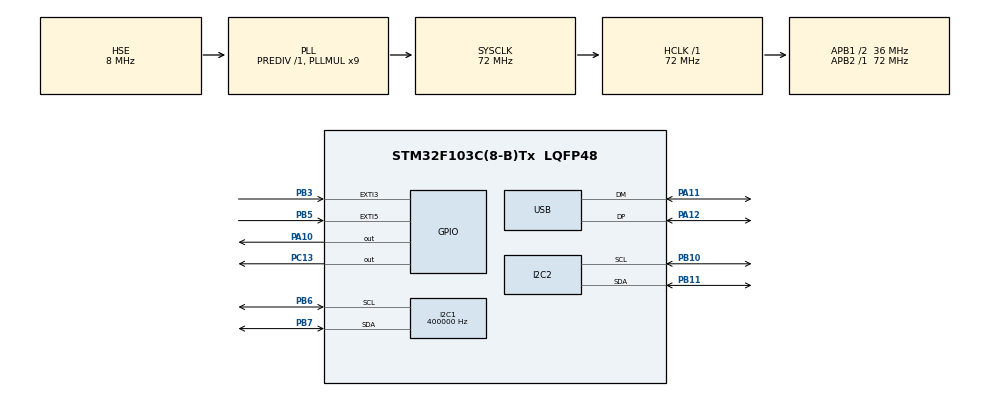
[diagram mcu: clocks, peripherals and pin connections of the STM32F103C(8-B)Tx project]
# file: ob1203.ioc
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I2C1.ClockSpeed=400000
I2C1.I2C_Mode=I2C_Fast
I2C2.I2C_Mode=I2C_Fast
Mcu.Family=STM32F1
Mcu.Name=STM32F103C(8-B)Tx
Mcu.Package=LQFP48
NVIC.EXTI3_IRQn=true\:0\:0\:false\:false\:true\:true\:true\:true
NVIC.EXTI9_5_IRQn=true\:0\:0\:false\:false\:true\:true\:true\:true
NVIC.I2C1_ER_IRQn=true\:0\:0\:false\:false\:true\:true\:true\:true
NVIC.I2C1_EV_IRQn=true\:0\:0\:false\:false\:true\:true\:true\:true
NVIC.I2C2_ER_IRQn=true\:0\:0\:false\:false\:true\:true\:true\:true
NVIC.I2C2_EV_IRQn=true\:0\:0\:false\:false\:true\:true\:true\:true
NVIC.PriorityGroup=NVIC_PRIORITYGROUP_4
NVIC.TIM3_IRQn=true\:0\:0\:false\:false\:true\:true\:true\:true
NVIC.TIM4_IRQn=true\:0\:0\:false\:false\:true\:true\:true\:true
NVIC.USB_LP_CAN1_RX0_IRQn=true\:0\:0\:false\:false\:true\:false\:true\:true
PA10.Signal=GPIO_Output
PA11.Mode=Device
PA11.Signal=USB_DM
PA12.Mode=Device
PA12.Signal=USB_DP
PA13.Mode=Serial_Wire
PA13.Signal=SYS_JTMS-SWDIO
PA14.Mode=Serial_Wire
PA14.Signal=SYS_JTCK-SWCLK
PB10.Mode=I2C
PB10.Signal=I2C2_SCL
PB11.Mode=I2C
PB11.Signal=I2C2_SDA
PB3.GPIO_ModeDefaultEXTI=GPIO_MODE_IT_RISING
PB3.GPIO_PuPd=GPIO_PULLUP
PB3.Signal=GPXTI3
PB5.GPIO_ModeDefaultEXTI=GPIO_MODE_IT_FALLING
PB5.GPIO_PuPd=GPIO_PULLUP
PB5.Signal=GPXTI5
PB6.Mode=I2C
PB6.Signal=I2C1_SCL
PB7.Mode=I2C
PB7.Signal=I2C1_SDA
PC13-TAMPER-RTC.Signal=GPIO_Output
PD0-OSC_IN.Mode=HSE-External-Oscillator
PD0-OSC_IN.Signal=RCC_OSC_IN
PD1-OSC_OUT.Mode=HSE-External-Oscillator
PD1-OSC_OUT.Signal=RCC_OSC_OUT
ProjectManager.HeapSize=0x200
ProjectManager.StackSize=0x400
ProjectManager.TargetToolchain=STM32CubeIDE
RCC.ADCPresc=RCC_ADCPCLK2_DIV6
RCC.AHBFreq_Value=72000000
RCC.APB1CLKDivider=RCC_HCLK_DIV2
RCC.APB1Freq_Value=36000000
RCC.APB1TimFreq_Value=72000000
RCC.APB2Freq_Value=72000000
RCC.APB2TimFreq_Value=72000000
RCC.HCLKFreq_Value=72000000
RCC.PLLMUL=RCC_PLL_MUL9
RCC.SYSCLKFreq_VALUE=72000000
RCC.SYSCLKSource=RCC_SYSCLKSOURCE_PLLCLK
RCC.USBFreq_Value=48000000
RCC.USBPrescaler=RCC_USBCLKSOURCE_PLL_DIV1_5
TIM3.Period=100-1
TIM3.Prescaler=7200-1
TIM4.Period=1000-1
TIM4.Prescaler=7200-1
USB_DEVICE.CLASS_NAME_FS=CDC
USB_DEVICE.VirtualMode=Cdc
USB_DEVICE.VirtualModeFS=Cdc_FS
VP_TIM2_VS_ClockSourceINT.Mode=Internal
VP_TIM3_VS_ClockSourceINT.Mode=Internal
VP_TIM4_VS_ClockSourceINT.Mode=Internal
VP_USB_DEVICE_VS_USB_DEVICE_CDC_FS.Mode=CDC_FS
board=custom

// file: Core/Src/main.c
/* USER CODE BEGIN Header */
/**
  ******************************************************************************
  * @file           : main.c
  * @brief          : Main program body
  ******************************************************************************
  * @attention
  *
  * Copyright (c) 2023 STMicroelectronics.
  * All rights reserved.
  *
  * This software is licensed under terms that can be found in the LICENSE file
  * in the root directory of this software component.
  * If no LICENSE file comes with this software, it is provided AS-IS.
  *
  ******************************************************************************
  */
/* USER CODE END Header */
#include "main.h"
#include "usb_device.h"

/* USER CODE BEGIN Includes */
#include "usbd_cdc_if.h"

/* USER CODE END Includes */

I2C_HandleTypeDef hi2c1;
I2C_HandleTypeDef hi2c2;

TIM_HandleTypeDef htim2;
TIM_HandleTypeDef htim3;
TIM_HandleTypeDef htim4;

/* USER CODE BEGIN PV */
uint8_t SM_Case = ST_IDLE;
BUF_HandleTypeDef FIFO_buf = 0;
I2C_HandleTypeDef cur_i2c;

uint8_t command = 2;
uint8_t rate;
uint8_t adc_rdy = 0;

uint8_t BMX_rdy = 0;
//int16_t accelCount[3];
//int16_t gyroCount[3];
//int16_t magCount[3];
/* USER CODE END PV */

void SystemClock_Config(void);
static void MX_GPIO_Init(void);
static void MX_I2C1_Init(void);
static void MX_TIM2_Init(void);
static void MX_I2C2_Init(void);
static void MX_TIM4_Init(void);
static void MX_TIM3_Init(void);
/* USER CODE BEGIN PFP */
static void OB1203_Setup(void);
static void OB1203_RST(void);
void ChangeTimer4Period(uint16_t NewPeriod);
/* USER CODE END PFP */

/* USER CODE BEGIN 0 */
int Command_Check()
{
	int command_count = COMMAND_FIRST_BYTE;
	int command_status = COMMAND_NOTRECEIVED;
	while (! Buffer_IsEmpty(FIFO_buf) && command_status == COMMAND_NOTRECEIVED)
	{
		uint8_t data = Buffer_Read(FIFO_buf);
		switch (command_count)
		{
		case COMMAND_FIRST_BYTE:
			if (data == 0)
			{
				command_count = COMMAND_SECOND_BYTE;
			}
			else if(data == 255)
			{
				command_count = COMMAND_SWITCH;
			}
			break;
		case COMMAND_SECOND_BYTE:
			if (data == 7)
			{
				command_status = COMMAND_RECEIVED;
				command = COMMAND_START;
			}
			else
			{
				command_count = COMMAND_FIRST_BYTE;
			}
			break;
		case COMMAND_SWITCH:
			if (data == 0)
			{
				command_status = COMMAND_RECEIVED;
				command = COMMAND_STOP;
			}
			else
			{
				command_count = COMMAND_FIRST_BYTE;
			}
			break;
		}
	}
	return command_status;
}

uint16_t rate_case(uint8_t rate)
{
	uint16_t rate_hz = 0;
	switch(rate)
	{
	case HEARTRATE11_PPG_RATE_1MS:
		rate_hz = 1000;
		break;
	case HEARTRATE11_PPG_RATE_1p25MS:
		rate_hz = 800;
		break;
	case HEARTRATE11_PPG_RATE_2p5MS:
		rate_hz = 400;
		break;
	case HEARTRATE11_PPG_RATE_5MS:
		rate_hz = 200;
		break;
	case HEARTRATE11_PPG_RATE_10MS:
		rate_hz = 100;
		break;
	case HEARTRATE11_PPG_RATE_20MS:
		rate_hz = 50;
		break;
	}
	return rate_hz;
}

/* USER CODE END 0 */

int main(void)
{
  /* USER CODE BEGIN 1 */
  FIFO_buf = Buffer_Init(128);
  /* USER CODE END 1 */

  /* MCU Configuration--------------------------------------------------------*/

  /* Reset of all peripherals, Initializes the Flash interface and the Systick. */
  HAL_Init();

  /* Configure the system clock */
  SystemClock_Config();

  /* Initialize all configured peripherals */
  MX_GPIO_Init();
  MX_I2C1_Init();
  MX_TIM2_Init();
  MX_USB_DEVICE_Init();
  MX_I2C2_Init();
  MX_TIM4_Init();
  MX_TIM3_Init();
  /* USER CODE BEGIN 2 */
  adc_rdy = 0;
  uint32_t ppg;
  uint8_t tca_data;
//  uint16_t ps;
  int setup = SETUP_NOTDONE;
  command = COMMAND_NOTR;
  cur_i2c = hi2c2;
//  ChangeTimer4Period(10000-1);
  HAL_TIM_Base_Start_IT(&htim3);

  /* USER CODE END 2 */

  /* Infinite loop */
  /* USER CODE BEGIN WHILE */
  while (1)
  {
	if(Command_Check() == COMMAND_RECEIVED)
	{
		SM_Case = ST_IDLE;
	}
	switch(SM_Case)
	{
		case ST_IDLE:
			if (command == COMMAND_START)
			{
				SM_Case = ST_START;
			}
			if (command == COMMAND_STOP)
			{
				SM_Case = ST_STOP;
			}
			break;
		case ST_START:

			if (setup == SETUP_NOTDONE)
			{

				rate = HEARTRATE11_PPG_RATE_10MS;
				tca9544a_I2C_SetX(I2C_1);
				OB1203_Setup();

				tca9544a_I2C_SetX(I2C_2);
				OB1203_Setup();

				tca9544a_I2C_SetX(I2C_3);
				OB1203_Setup();

				setup = SETUP_DONE;
				ob1203_send_info(rate_case(rate));

				BMX055_init_globals();
				BMX055_setup();
				bmx055_send_info(100);
			}
			if(!HAL_GPIO_ReadPin(GPIOB, GPIO_PIN_3))
			{
				cur_i2c = hi2c2;
				tca9544a_I2C_ReadX(&tca_data);
				tca_data = tca_data >> 4;
				if(tca_data && I2C1_INT)
				{
					tca9544a_I2C_SetX(I2C_1);
					memset(&ppg, 0, sizeof(ppg));
					heartrate11_read_fifo(0, &ppg);
					ob1203_send_results(ppg, I2C1_INT);
				}
				if(tca_data && I2C2_INT)
				{
					tca9544a_I2C_SetX(I2C_2);
					memset(&ppg, 0, sizeof(ppg));
					heartrate11_read_fifo(0, &ppg);
					ob1203_send_results(ppg, I2C2_INT);
				}
				if(tca_data && I2C3_INT)
				{
					tca9544a_I2C_SetX(I2C_3);
					memset(&ppg, 0, sizeof(ppg));
					heartrate11_read_fifo(0, &ppg);
					ob1203_send_results(ppg, I2C3_INT);
				}
				adc_rdy = 0;
			}
			if (BMX_rdy)
			{
				readAccelData(accelCount);
				readGyroData(gyroCount);
				readMagData(magCount);
				BMX_send_result(accelCount, gyroCount, magCount);
				BMX_rdy = 0;
			}
			break;
		case ST_STOP:
			OB1203_RST();
			setup = SETUP_NOTDONE;
			break;

	}
    /* USER CODE END WHILE */

  }
}

void SystemClock_Config(void)
{
  RCC_OscInitTypeDef RCC_OscInitStruct = {0};
  RCC_ClkInitTypeDef RCC_ClkInitStruct = {0};
  RCC_PeriphCLKInitTypeDef PeriphClkInit = {0};

  /** Initializes the RCC Oscillators according to the specified parameters
  * in the RCC_OscInitTypeDef structure.
  */
  RCC_OscInitStruct.OscillatorType = RCC_OSCILLATORTYPE_HSE;
  RCC_OscInitStruct.HSEState = RCC_HSE_ON;
  RCC_OscInitStruct.HSEPredivValue = RCC_HSE_PREDIV_DIV1;
  RCC_OscInitStruct.HSIState = RCC_HSI_ON;
  RCC_OscInitStruct.PLL.PLLState = RCC_PLL_ON;
  RCC_OscInitStruct.PLL.PLLSource = RCC_PLLSOURCE_HSE;
  RCC_OscInitStruct.PLL.PLLMUL = RCC_PLL_MUL9;
  if (HAL_RCC_OscConfig(&RCC_OscInitStruct) != HAL_OK)
  {
    Error_Handler();
  }

  /** Initializes the CPU, AHB and APB buses clocks
  */
  RCC_ClkInitStruct.ClockType = RCC_CLOCKTYPE_HCLK|RCC_CLOCKTYPE_SYSCLK
                              |RCC_CLOCKTYPE_PCLK1|RCC_CLOCKTYPE_PCLK2;
  RCC_ClkInitStruct.SYSCLKSource = RCC_SYSCLKSOURCE_PLLCLK;
  RCC_ClkInitStruct.AHBCLKDivider = RCC_SYSCLK_DIV1;
  RCC_ClkInitStruct.APB1CLKDivider = RCC_HCLK_DIV2;
  RCC_ClkInitStruct.APB2CLKDivider = RCC_HCLK_DIV1;

  if (HAL_RCC_ClockConfig(&RCC_ClkInitStruct, FLASH_LATENCY_2) != HAL_OK)
  {
    Error_Handler();
  }
  PeriphClkInit.PeriphClockSelection = RCC_PERIPHCLK_USB;
  PeriphClkInit.UsbClockSelection = RCC_USBCLKSOURCE_PLL_DIV1_5;
  if (HAL_RCCEx_PeriphCLKConfig(&PeriphClkInit) != HAL_OK)
  {
    Error_Handler();
  }
}

static void MX_I2C1_Init(void)
{

  hi2c1.Instance = I2C1;
  hi2c1.Init.ClockSpeed = 400000;
  hi2c1.Init.DutyCycle = I2C_DUTYCYCLE_2;
  hi2c1.Init.OwnAddress1 = 0;
  hi2c1.Init.AddressingMode = I2C_ADDRESSINGMODE_7BIT;
  hi2c1.Init.DualAddressMode = I2C_DUALADDRESS_DISABLE;
  hi2c1.Init.OwnAddress2 = 0;
  hi2c1.Init.GeneralCallMode = I2C_GENERALCALL_DISABLE;
  hi2c1.Init.NoStretchMode = I2C_NOSTRETCH_DISABLE;
  if (HAL_I2C_Init(&hi2c1) != HAL_OK)
  {
    Error_Handler();
  }

}

static void MX_I2C2_Init(void)
{

  hi2c2.Instance = I2C2;
  hi2c2.Init.ClockSpeed = 400000;
  hi2c2.Init.DutyCycle = I2C_DUTYCYCLE_2;
  hi2c2.Init.OwnAddress1 = 0;
  hi2c2.Init.AddressingMode = I2C_ADDRESSINGMODE_7BIT;
  hi2c2.Init.DualAddressMode = I2C_DUALADDRESS_DISABLE;
  hi2c2.Init.OwnAddress2 = 0;
  hi2c2.Init.GeneralCallMode = I2C_GENERALCALL_DISABLE;
  hi2c2.Init.NoStretchMode = I2C_NOSTRETCH_DISABLE;
  if (HAL_I2C_Init(&hi2c2) != HAL_OK)
  {
    Error_Handler();
  }

}

static void MX_TIM2_Init(void)
{

  TIM_ClockConfigTypeDef sClockSourceConfig = {0};
  TIM_MasterConfigTypeDef sMasterConfig = {0};

  htim2.Instance = TIM2;
  htim2.Init.Prescaler = 0;
  htim2.Init.CounterMode = TIM_COUNTERMODE_UP;
  htim2.Init.Period = 65535;
  htim2.Init.ClockDivision = TIM_CLOCKDIVISION_DIV1;
  htim2.Init.AutoReloadPreload = TIM_AUTORELOAD_PRELOAD_DISABLE;
  if (HAL_TIM_Base_Init(&htim2) != HAL_OK)
  {
    Error_Handler();
  }
  sClockSourceConfig.ClockSource = TIM_CLOCKSOURCE_INTERNAL;
  if (HAL_TIM_ConfigClockSource(&htim2, &sClockSourceConfig) != HAL_OK)
  {
    Error_Handler();
  }
  sMasterConfig.MasterOutputTrigger = TIM_TRGO_RESET;
  sMasterConfig.MasterSlaveMode = TIM_MASTERSLAVEMODE_DISABLE;
  if (HAL_TIMEx_MasterConfigSynchronization(&htim2, &sMasterConfig) != HAL_OK)
  {
    Error_Handler();
  }

}

static void MX_TIM3_Init(void)
{

  TIM_ClockConfigTypeDef sClockSourceConfig = {0};
  TIM_MasterConfigTypeDef sMasterConfig = {0};

  htim3.Instance = TIM3;
  htim3.Init.Prescaler = 7200-1;
  htim3.Init.CounterMode = TIM_COUNTERMODE_UP;
  htim3.Init.Period = 100-1;
  htim3.Init.ClockDivision = TIM_CLOCKDIVISION_DIV1;
  htim3.Init.AutoReloadPreload = TIM_AUTORELOAD_PRELOAD_DISABLE;
  if (HAL_TIM_Base_Init(&htim3) != HAL_OK)
  {
    Error_Handler();
  }
  sClockSourceConfig.ClockSource = TIM_CLOCKSOURCE_INTERNAL;
  if (HAL_TIM_ConfigClockSource(&htim3, &sClockSourceConfig) != HAL_OK)
  {
    Error_Handler();
  }
  sMasterConfig.MasterOutputTrigger = TIM_TRGO_RESET;
  sMasterConfig.MasterSlaveMode = TIM_MASTERSLAVEMODE_DISABLE;
  if (HAL_TIMEx_MasterConfigSynchronization(&htim3, &sMasterConfig) != HAL_OK)
  {
    Error_Handler();
  }

}

static void MX_TIM4_Init(void)
{

  TIM_ClockConfigTypeDef sClockSourceConfig = {0};
  TIM_MasterConfigTypeDef sMasterConfig = {0};

  htim4.Instance = TIM4;
  htim4.Init.Prescaler = 7200-1;
  htim4.Init.CounterMode = TIM_COUNTERMODE_UP;
  htim4.Init.Period = 1000-1;
  htim4.Init.ClockDivision = TIM_CLOCKDIVISION_DIV1;
  htim4.Init.AutoReloadPreload = TIM_AUTORELOAD_PRELOAD_DISABLE;
  if (HAL_TIM_Base_Init(&htim4) != HAL_OK)
  {
    Error_Handler();
  }
  sClockSourceConfig.ClockSource = TIM_CLOCKSOURCE_INTERNAL;
  if (HAL_TIM_ConfigClockSource(&htim4, &sClockSourceConfig) != HAL_OK)
  {
    Error_Handler();
  }
  sMasterConfig.MasterOutputTrigger = TIM_TRGO_RESET;
  sMasterConfig.MasterSlaveMode = TIM_MASTERSLAVEMODE_DISABLE;
  if (HAL_TIMEx_MasterConfigSynchronization(&htim4, &sMasterConfig) != HAL_OK)
  {
    Error_Handler();
  }

}

static void MX_GPIO_Init(void)
{
  GPIO_InitTypeDef GPIO_InitStruct = {0};

  /* GPIO Ports Clock Enable */
  __HAL_RCC_GPIOC_CLK_ENABLE();
  __HAL_RCC_GPIOD_CLK_ENABLE();
  __HAL_RCC_GPIOB_CLK_ENABLE();
  __HAL_RCC_GPIOA_CLK_ENABLE();

  /*Configure GPIO pin Output Level */
  HAL_GPIO_WritePin(GPIOC, GPIO_PIN_13, GPIO_PIN_RESET);

  /*Configure GPIO pin Output Level */
  HAL_GPIO_WritePin(GPIOA, GPIO_PIN_10, GPIO_PIN_RESET);

  /*Configure GPIO pin : PC13 */
  GPIO_InitStruct.Pin = GPIO_PIN_13;
  GPIO_InitStruct.Mode = GPIO_MODE_OUTPUT_PP;
  GPIO_InitStruct.Pull = GPIO_NOPULL;
  GPIO_InitStruct.Speed = GPIO_SPEED_FREQ_LOW;
  HAL_GPIO_Init(GPIOC, &GPIO_InitStruct);

  /*Configure GPIO pin : PA10 */
  GPIO_InitStruct.Pin = GPIO_PIN_10;
  GPIO_InitStruct.Mode = GPIO_MODE_OUTPUT_PP;
  GPIO_InitStruct.Pull = GPIO_NOPULL;
  GPIO_InitStruct.Speed = GPIO_SPEED_FREQ_LOW;
  HAL_GPIO_Init(GPIOA, &GPIO_InitStruct);

  /*Configure GPIO pin : PB3 */
  GPIO_InitStruct.Pin = GPIO_PIN_3;
  GPIO_InitStruct.Mode = GPIO_MODE_IT_RISING;
  GPIO_InitStruct.Pull = GPIO_PULLUP;
  HAL_GPIO_Init(GPIOB, &GPIO_InitStruct);

  /*Configure GPIO pin : PB5 */
  GPIO_InitStruct.Pin = GPIO_PIN_5;
  GPIO_InitStruct.Mode = GPIO_MODE_IT_FALLING;
  GPIO_InitStruct.Pull = GPIO_PULLUP;
  HAL_GPIO_Init(GPIOB, &GPIO_InitStruct);

  /* EXTI interrupt init*/
  HAL_NVIC_SetPriority(EXTI3_IRQn, 0, 0);
  HAL_NVIC_EnableIRQ(EXTI3_IRQn);

  HAL_NVIC_SetPriority(EXTI9_5_IRQn, 0, 0);
  HAL_NVIC_EnableIRQ(EXTI9_5_IRQn);

}

/* USER CODE BEGIN 4 */
void OB1203_RST(void)
{
	heartrate11_t heartrate11;
	heartrate11_reset_device(&heartrate11);
}

void OB1203_Setup(void)
{
	heartrate11_t heartrate11;
	uint8_t data = 0;
	if(HEARTRATE11_OK == heartrate11_read_register(0, HEARTRATE11_REG_PART_ID, &data))
	{
		heartrate11_default_cfg(&heartrate11);
	}
}

void ChangeTimer4Period(uint16_t NewPeriod)
{

	  htim4.Init.Period = NewPeriod;
	  if (HAL_TIM_Base_Init(&htim4) != HAL_OK)
	  {
	    Error_Handler();
	  }
}
//
//void HAL_TIM_PeriodElapsedCallback(TIM_HandleTypeDef *htim)
//{
//	BMX_rdy = 1;
//}

/* USER CODE END 4 */

void Error_Handler(void)
{
  __disable_irq();
  while (1)
  {
  }
}
